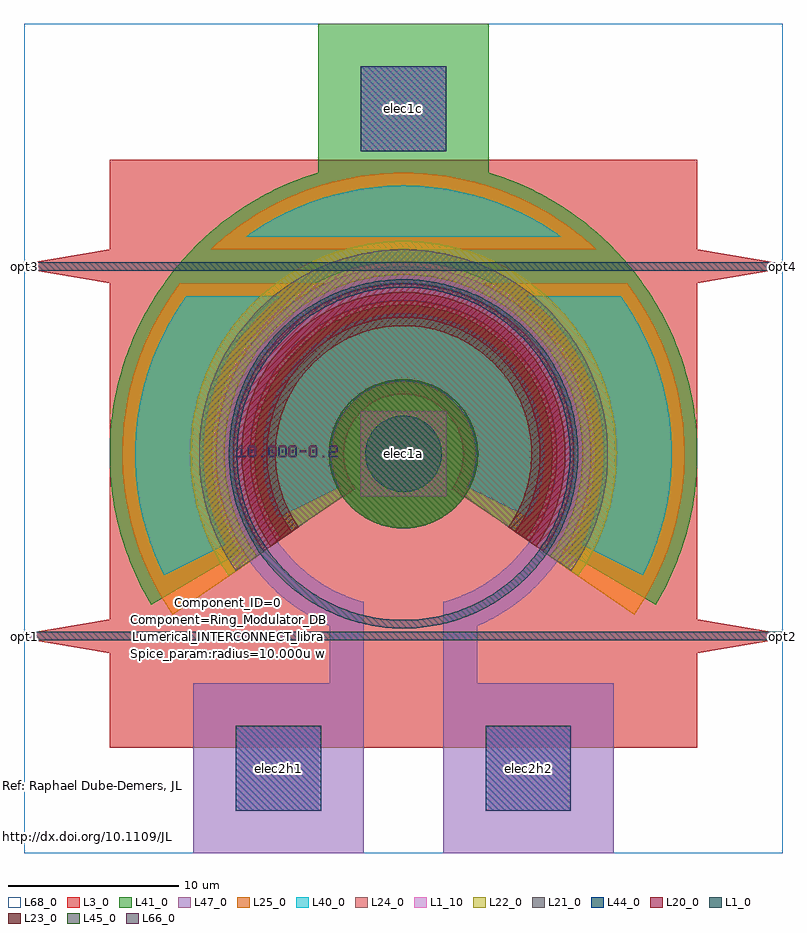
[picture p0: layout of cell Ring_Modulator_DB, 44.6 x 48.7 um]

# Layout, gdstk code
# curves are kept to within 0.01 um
import gdstk
lib = gdstk.Library(unit=1e-6, precision=1e-09)
def R(c, l, rs):  # rectangles x0, y0, x1, y1
    for r in rs: c.add(gdstk.rectangle(r[:2], r[2:], *l))
def A(c, l, x, y, w, h, nx, ny, dx, dy):  # array of equal rectangles
    R(c, l, [(x+i*dx, y+j*dy, x+i*dx+w, y+j*dy+h) for i in range(nx) for j in range(ny)])
def P(c, l, *ps):  # polygons
    for p in ps: c.add(gdstk.Polygon(p, *l))
L1_0 = (1, 0)
L1_10 = (1, 10)
L3_0 = (3, 0)
L20_0 = (20, 0)
L21_0 = (21, 0)
L22_0 = (22, 0)
L23_0 = (23, 0)
L24_0 = (24, 0)
L25_0 = (25, 0)
L40_0 = (40, 0)
L41_0 = (41, 0)
L44_0 = (44, 0)
L45_0 = (45, 0)
L47_0 = (47, 0)
L66_0 = (66, 0)
L68_0 = (68, 0)

ring = lib.new_cell('Ring')
P(ring, L1_0, [(-0.05,-10.25),(-0.656,-10.229),(-1.058,-10.195),(-1.459,-10.146),(-2.055,-10.042),(-2.645,-9.903),(-3.033,-9.791),(-3.794,-9.522),(-4.166,-9.365),(-4.712,-9.103),(-5.241,-8.809),(-5.584,-8.595),(-6.082,-8.251),(-6.402,-8.005),(-6.864,-7.613),(-7.158,-7.337),(-7.579,-6.901),(-7.845,-6.597),(-8.221,-6.122),(-8.455,-5.794),(-8.783,-5.284),(-8.984,-4.934),(-9.26,-4.395),(-9.426,-4.027),(-9.647,-3.464),(-9.776,-3.081),(-9.89,-2.693),(-10.032,-2.105),(-10.107,-1.708),(-10.19,-1.108),(-10.238,-0.505),(-10.25,-0.101),(-10.238,0.505),(-10.21,0.907),(-10.138,1.509),(-10.032,2.105),(-9.89,2.693),(-9.776,3.081),(-9.647,3.464),(-9.426,4.027),(-9.26,4.395),(-8.984,4.934),(-8.783,5.284),(-8.455,5.794),(-8.221,6.122),(-7.845,6.597),(-7.579,6.901),(-7.158,7.337),(-6.864,7.613),(-6.402,8.005),(-5.918,8.369),(-5.414,8.704),(-4.89,9.008),(-4.35,9.281),(-3.794,9.522),(-3.225,9.729),(-3.16,9.75),(-0.049,9.75),(-0.64,9.729),(-1.423,9.646),(-2.005,9.542),(-2.579,9.403),(-3.144,9.229),(-3.697,9.022),(-4.237,8.781),(-4.761,8.509),(-5.267,8.205),(-5.755,7.871),(-6.221,7.507),(-6.664,7.117),(-7.083,6.7),(-7.476,6.259),(-7.841,5.794),(-8.178,5.309),(-8.484,4.804),(-8.76,4.281),(-9.003,3.743),(-9.213,3.19),(-9.39,2.626),(-9.531,2.053),(-9.638,1.472),(-9.71,0.885),(-9.746,0.295),(-9.746,-0.295),(-9.71,-0.885),(-9.638,-1.472),(-9.531,-2.053),(-9.39,-2.626),(-9.213,-3.19),(-9.003,-3.743),(-8.76,-4.281),(-8.484,-4.804),(-8.178,-5.309),(-7.841,-5.794),(-7.476,-6.259),(-7.083,-6.7),(-6.664,-7.117),(-6.221,-7.507),(-5.755,-7.871),(-5.267,-8.205),(-4.761,-8.509),(-4.237,-8.781),(-3.697,-9.022),(-3.144,-9.229),(-2.579,-9.403),(-2.005,-9.542),(-1.423,-9.646),(-0.836,-9.714),(-0.246,-9.747),(0.345,-9.744),(0.934,-9.705),(1.52,-9.631),(2.101,-9.521),(2.674,-9.376),(3.237,-9.197),(3.788,-8.984),(4.325,-8.738),(4.847,-8.46),(5.35,-8.151),(5.991,-7.693),(6.446,-7.316),(6.877,-6.912),(7.412,-6.334),(7.782,-5.873),(8.124,-5.391),(8.533,-4.718),(8.886,-4.014),(9.181,-3.283),(9.363,-2.721),(9.552,-1.956),(9.653,-1.374),(9.732,-0.591),(9.748,0.197),(9.718,0.787),(9.623,1.569),(9.465,2.341),(9.306,2.91),(9.04,3.651),(8.716,4.369),(8.533,4.718),(8.231,5.226),(7.899,5.715),(7.662,6.029),(7.15,6.628),(6.877,6.912),(6.446,7.316),(5.834,7.812),(5.184,8.257),(4.847,8.46),(4.325,8.738),(3.606,9.059),(2.863,9.32),(2.101,9.521),(1.326,9.659),(0.738,9.722),(0.148,9.749),(-3.16,9.75),(-2.449,9.953),(-1.658,10.115),(-0.857,10.214),(-0.05,10.25),(0.555,10.235),(0.958,10.205),(1.359,10.16),(1.956,10.062),(2.351,9.977),(2.936,9.82),(3.511,9.63),(3.888,9.484),(4.258,9.324),(4.801,9.056),(5.328,8.757),(5.668,8.54),(6.163,8.19),(6.481,7.941),(6.938,7.545),(7.23,7.266),(7.511,6.975),(7.909,6.52),(8.281,6.041),(8.512,5.71),(8.73,5.371),(9.032,4.846),(9.303,4.304),(9.465,3.934),(9.613,3.558),(9.806,2.984),(9.916,2.596),(10.052,2.006),(10.153,1.409),(10.2,1.008),(10.242,0.404),(10.25,0),(10.242,-0.404),(10.2,-1.008),(10.153,-1.409),(10.052,-2.006),(9.916,-2.596),(9.806,-2.984),(9.613,-3.558),(9.465,-3.934),(9.303,-4.304),(9.032,-4.846),(8.73,-5.371),(8.512,-5.71),(8.281,-6.041),(7.909,-6.52),(7.511,-6.975),(7.23,-7.266),(6.938,-7.545),(6.481,-7.941),(6.163,-8.19),(5.668,-8.54),(5.328,-8.757),(4.801,-9.056),(4.258,-9.324),(3.888,-9.484),(3.511,-9.63),(2.936,-9.82),(2.351,-9.977),(1.956,-10.062),(1.359,-10.16),(0.958,-10.205),(0.555,-10.235)])

text = lib.new_cell('TEXT')
A(text, L66_0, 2, 0.25, 0.1, 0.2, 3, 1, 0.6, 0)
R(text, L66_0, [(1.4,0,1.5,0.1), (5,0,5.1,0.1), (0.8,0.25,0.9,0.45), (4.4,0.25,4.5,0.45), (3.65,0.3,4.05,0.4)])
P(text, L66_0, [(0,0),(0,0.1),(0.2,0.1),(0.2,0.5),(0.15,0.5),(0.05,0.4),(0,0.4),(0,0.5),(0.2,0.7),(0.3,0.7),(0.3,0.1),(0.5,0.1),(0.5,0)],
  [(0.7,0),(0.6,0.1),(0.6,0.6),(0.7,0.7),(1,0.7),(1.1,0.6),(0.75,0.6),(0.7,0.55),(0.7,0.15),(0.75,0.1),(0.95,0.1),(1,0.15),(1,0.55),(0.95,0.6),(1.1,0.6),(1.1,0.1),(1,0)],
  [(1.9,0),(1.8,0.1),(1.8,0.6),(1.9,0.7),(2.2,0.7),(2.3,0.6),(1.95,0.6),(1.9,0.55),(1.9,0.15),(1.95,0.1),(2.15,0.1),(2.2,0.15),(2.2,0.55),(2.15,0.6),(2.3,0.6),(2.3,0.1),(2.2,0)],
  [(2.5,0),(2.4,0.1),(2.4,0.6),(2.5,0.7),(2.8,0.7),(2.9,0.6),(2.55,0.6),(2.5,0.55),(2.5,0.15),(2.55,0.1),(2.75,0.1),(2.8,0.15),(2.8,0.55),(2.75,0.6),(2.9,0.6),(2.9,0.1),(2.8,0)],
  [(3.1,0),(3,0.1),(3,0.6),(3.1,0.7),(3.4,0.7),(3.5,0.6),(3.15,0.6),(3.1,0.55),(3.1,0.15),(3.15,0.1),(3.35,0.1),(3.4,0.15),(3.4,0.55),(3.35,0.6),(3.5,0.6),(3.5,0.1),(3.4,0)],
  [(4.3,0),(4.2,0.1),(4.2,0.6),(4.3,0.7),(4.6,0.7),(4.7,0.6),(4.35,0.6),(4.3,0.55),(4.3,0.15),(4.35,0.1),(4.55,0.1),(4.6,0.15),(4.6,0.55),(4.55,0.6),(4.7,0.6),(4.7,0.1),(4.6,0)],
  [(5.4,0),(5.4,0.25),(5.5,0.35),(5.75,0.35),(5.8,0.4),(5.8,0.55),(5.75,0.6),(5.55,0.6),(5.5,0.55),(5.5,0.5),(5.4,0.5),(5.4,0.6),(5.5,0.7),(5.8,0.7),(5.9,0.6),(5.9,0.35),(5.8,0.25),(5.55,0.25),(5.5,0.2),(5.5,0.1),(5.9,0.1),(5.9,0)])

ring_modulator_db = lib.new_cell('Ring_Modulator_DB')
R(ring_modulator_db, L1_0, [(-12,-0.25,32.5,0.25), (-12,21.45,32.5,21.95)])
R(ring_modulator_db, L1_10, [(0.42,-10.25,5.42,-5.25), (15.079,-10.25,20.079,-5.25), (7.75,8.2,12.75,13.2), (7.75,28.45,12.75,33.45)])
P(ring_modulator_db, L1_10, [(10.274,8.46),(9.897,8.488),(9.621,8.55),(9.442,8.611),(9.185,8.729),(9.023,8.826),(8.869,8.936),(8.658,9.124),(8.416,9.414),(8.314,9.573),(8.187,9.826),(8.121,10.003),(8.05,10.277),(8.01,10.653),(8.014,10.842),(8.05,11.123),(8.121,11.397),(8.187,11.574),(8.314,11.827),(8.416,11.986),(8.658,12.276),(8.869,12.464),(9.023,12.574),(9.355,12.753),(9.621,12.85),(9.804,12.895),(10.179,12.939),(10.368,12.937),(10.649,12.904),(10.834,12.863),(11.102,12.772),(11.273,12.693),(11.516,12.548),(11.809,12.309),(11.939,12.172),(12.111,11.947),(12.209,11.786),(12.331,11.53),(12.419,11.261),(12.458,11.076),(12.49,10.7),(12.458,10.324),(12.419,10.139),(12.331,9.87),(12.209,9.614),(12.111,9.453),(11.939,9.228),(11.809,9.091),(11.516,8.852),(11.273,8.707),(11.102,8.628),(10.834,8.537),(10.649,8.496)])
R(ring_modulator_db, L3_0, [(-7,-6.55,27.5,27.95)])
P(ring_modulator_db, L3_0, [(-7,-1),(-12,-0.15),(-12,0.15),(-7,1)],
  [(27.5,-1),(27.5,1),(32.5,0.15),(32.5,-0.15)],
  [(-7,20.7),(-12,21.55),(-12,21.85),(-7,22.7)],
  [(27.5,20.7),(27.5,22.7),(32.5,21.85),(32.5,21.55)])
P(ring_modulator_db, L20_0, [(2.056,4.969),(1.824,5.315),(1.5,5.857),(1.123,6.613),(0.883,7.196),(0.744,7.594),(0.567,8.201),(0.47,8.613),(0.329,9.445),(0.27,10.072),(0.252,10.493),(0.27,11.336),(0.33,11.966),(0.392,12.383),(0.569,13.207),(0.746,13.813),(0.887,14.211),(1.044,14.605),(1.308,15.176),(1.717,15.915),(1.944,16.269),(2.311,16.781),(2.577,17.114),(2.995,17.582),(3.446,18.029),(3.762,18.31),(4.425,18.828),(4.771,19.066),(5.313,19.396),(6.062,19.781),(6.644,20.028),(7.04,20.171),(7.443,20.298),(8.055,20.456),(8.884,20.607),(9.303,20.656),(9.933,20.696),(10.567,20.696),(10.987,20.673),(11.616,20.607),(12.033,20.54),(12.65,20.408),(13.057,20.298),(13.856,20.028),(14.438,19.781),(14.817,19.597),(15.187,19.396),(15.729,19.066),(16.414,18.575),(16.738,18.31),(17.207,17.883),(17.505,17.582),(17.923,17.114),(18.437,16.442),(18.891,15.734),(19.192,15.176),(19.537,14.409),(19.754,13.813),(19.931,13.207),(20.108,12.383),(20.214,11.546),(20.25,10.704),(20.214,9.862),(20.109,9.024),(19.933,8.201),(19.756,7.594),(19.461,6.807),(19.196,6.232),(18.895,5.674),(18.444,4.969),(16.8,6.107),(17.081,6.535),(17.329,6.973),(17.551,7.429),(17.8,8.055),(17.997,8.701),(18.107,9.194),(18.187,9.693),(18.243,10.366),(18.243,11.041),(18.206,11.545),(18.106,12.211),(17.995,12.705),(17.852,13.191),(17.681,13.665),(17.404,14.282),(17.163,14.726),(16.894,15.155),(16.599,15.567),(16.281,15.956),(15.935,16.329),(15.569,16.675),(15.178,17.001),(14.771,17.3),(14.347,17.572),(13.903,17.817),(13.448,18.033),(12.977,18.22),(12.497,18.378),(12.007,18.504),(11.509,18.601),(10.839,18.679),(10.334,18.7),(9.829,18.689),(9.325,18.647),(8.825,18.572),(8.33,18.466),(7.843,18.329),(7.366,18.162),(6.9,17.965),(6.448,17.739),(6.01,17.484),(5.589,17.202),(5.188,16.894),(4.806,16.563),(4.449,16.208),(4.109,15.828),(3.701,15.294),(3.423,14.869),(3.096,14.282),(2.884,13.819),(2.701,13.35),(2.505,12.705),(2.394,12.211),(2.294,11.545),(2.257,11.041),(2.257,10.366),(2.313,9.693),(2.393,9.194),(2.503,8.701),(2.7,8.055),(2.949,7.429),(3.171,6.973),(3.419,6.535),(3.7,6.107)])
P(ring_modulator_db, L21_0, [(0.414,3.825),(0.164,4.198),(-0.19,4.783),(-0.409,5.186),(-0.706,5.803),(-0.968,6.437),(-1.122,6.867),(-1.322,7.523),(-1.485,8.189),(-1.609,8.864),(-1.67,9.318),(-1.714,9.774),(-1.748,10.459),(-1.748,10.916),(-1.716,11.601),(-1.674,12.054),(-1.577,12.734),(-1.441,13.407),(-1.329,13.85),(-1.13,14.507),(-0.895,15.149),(-0.717,15.572),(-0.421,16.189),(-0.203,16.594),(0.151,17.181),(0.537,17.747),(0.955,18.29),(1.251,18.639),(1.719,19.141),(2.215,19.613),(2.562,19.914),(2.918,20.2),(3.472,20.602),(3.854,20.854),(4.445,21.202),(5.054,21.517),(5.473,21.708),(6.107,21.963),(6.537,22.112),(7.199,22.306),(7.64,22.413),(8.314,22.543),(8.767,22.608),(9.45,22.674),(9.907,22.696),(10.593,22.696),(11.05,22.674),(11.733,22.608),(12.409,22.504),(12.86,22.413),(13.523,22.245),(13.963,22.112),(14.609,21.88),(15.238,21.615),(15.651,21.416),(16.253,21.091),(16.646,20.854),(17.028,20.602),(17.582,20.2),(18.112,19.767),(18.617,19.302),(18.941,18.975),(19.398,18.466),(19.826,17.932),(20.096,17.56),(20.59,16.789),(21.023,15.986),(21.395,15.149),(21.702,14.288),(21.941,13.407),(22.113,12.508),(22.216,11.601),(22.25,10.687),(22.214,9.774),(22.109,8.864),(21.934,7.966),(21.693,7.086),(21.383,6.222),(21.011,5.39),(20.575,4.584),(20.086,3.825),(18.436,4.957),(18.855,5.606),(19.131,6.104),(19.455,6.793),(19.726,7.507),(19.942,8.236),(20.102,8.983),(20.184,9.548),(20.243,10.309),(20.243,11.071),(20.186,11.83),(20.105,12.396),(19.948,13.139),(19.792,13.692),(19.537,14.409),(19.227,15.104),(18.866,15.777),(18.454,16.418),(18.114,16.877),(17.622,17.458),(17.225,17.866),(16.804,18.253),(16.209,18.731),(15.739,19.059),(15.255,19.357),(14.751,19.63),(14.235,19.872),(13.703,20.085),(12.979,20.321),(12.238,20.501),(11.674,20.598),(11.106,20.664),(10.345,20.7),(9.774,20.689),(9.015,20.624),(8.262,20.501),(7.705,20.37),(7.159,20.21),(6.621,20.018),(6.092,19.795),(5.413,19.452),(4.761,19.059),(4.291,18.731),(3.696,18.253),(3.275,17.866),(2.878,17.458),(2.386,16.877),(2.046,16.418),(1.634,15.777),(1.273,15.104),(0.963,14.409),(0.708,13.692),(0.552,13.139),(0.395,12.396),(0.314,11.83),(0.257,11.071),(0.257,10.309),(0.316,9.548),(0.398,8.983),(0.558,8.236),(0.774,7.507),(0.971,6.972),(1.283,6.274),(1.645,5.606),(2.064,4.957)])
P(ring_modulator_db, L22_0, [(0.007,3.536),(-0.251,3.918),(-0.612,4.516),(-0.836,4.924),(-1.142,5.555),(-1.325,5.981),(-1.571,6.636),(-1.779,7.302),(-1.951,7.981),(-2.084,8.667),(-2.151,9.128),(-2.22,9.824),(-2.244,10.29),(-2.247,10.989),(-2.211,11.687),(-2.165,12.152),(-2.065,12.844),(-1.926,13.529),(-1.812,13.979),(-1.682,14.427),(-1.455,15.088),(-1.19,15.737),(-0.892,16.368),(-0.672,16.78),(-0.315,17.381),(0.074,17.96),(0.354,18.337),(0.796,18.877),(1.107,19.224),(1.598,19.722),(2.115,20.191),(2.475,20.488),(3.034,20.907),(3.421,21.17),(4.016,21.535),(4.632,21.867),(5.263,22.162),(5.696,22.341),(6.353,22.577),(6.8,22.714),(7.476,22.888),(8.163,23.024),(8.854,23.122),(9.318,23.165),(10.017,23.198),(10.483,23.198),(11.182,23.165),(11.646,23.122),(12.337,23.024),(12.797,22.938),(13.476,22.776),(13.924,22.648),(14.586,22.424),(15.237,22.162),(15.868,21.867),(16.484,21.535),(16.883,21.295),(17.466,20.907),(17.84,20.632),(18.385,20.191),(18.733,19.882),(19.07,19.558),(19.551,19.052),(20.003,18.519),(20.426,17.96),(20.938,17.183),(21.392,16.368),(21.595,15.949),(21.87,15.307),(22.182,14.427),(22.426,13.529),(22.604,12.612),(22.711,11.687),(22.75,10.756),(22.72,9.824),(22.62,8.897),(22.451,7.981),(22.341,7.528),(22.144,6.856),(21.825,5.981),(21.441,5.132),(20.996,4.314),(20.493,3.536),(18.847,4.672),(19.276,5.334),(19.651,6.022),(19.897,6.555),(20.179,7.286),(20.407,8.036),(20.577,8.801),(20.69,9.574),(20.736,10.159),(20.747,10.943),(20.7,11.724),(20.595,12.5),(20.478,13.075),(20.272,13.831),(20.012,14.569),(19.695,15.287),(19.327,15.979),(19.018,16.477),(18.564,17.113),(18.192,17.569),(17.658,18.142),(17.083,18.673),(16.628,19.042),(16.15,19.386),(15.486,19.801),(14.795,20.166),(14.256,20.406),(13.523,20.677),(12.96,20.844),(12.198,21.018),(11.616,21.111),(10.837,21.184),(10.25,21.2),(9.663,21.184),(8.884,21.111),(8.302,21.018),(7.54,20.844),(6.977,20.677),(6.244,20.406),(5.705,20.166),(5.014,19.801),(4.35,19.386),(3.872,19.042),(3.417,18.673),(2.842,18.142),(2.308,17.569),(1.936,17.113),(1.591,16.639),(1.173,15.979),(0.805,15.287),(0.488,14.569),(0.228,13.831),(0.022,13.075),(-0.095,12.5),(-0.2,11.724),(-0.247,10.943),(-0.236,10.159),(-0.19,9.574),(-0.077,8.801),(0.093,8.036),(0.321,7.286),(0.603,6.555),(0.849,6.022),(1.224,5.334),(1.653,4.672)])
P(ring_modulator_db, L23_0, [(2.462,5.26),(2.238,5.594),(1.924,6.125),(1.558,6.866),(1.258,7.634),(1.133,8.026),(0.979,8.628),(0.834,9.437),(0.788,9.847),(0.753,10.466),(0.751,10.878),(0.783,11.495),(0.888,12.314),(1.063,13.119),(1.239,13.712),(1.379,14.099),(1.535,14.483),(1.799,15.04),(2.208,15.757),(2.553,16.27),(2.803,16.599),(3.342,17.221),(3.781,17.657),(4.09,17.933),(4.741,18.439),(5.254,18.781),(5.611,18.991),(6.346,19.361),(7.116,19.668),(7.506,19.795),(8.104,19.954),(8.917,20.107),(9.529,20.172),(9.94,20.195),(10.765,20.186),(11.177,20.154),(11.79,20.075),(12.597,19.906),(12.994,19.795),(13.579,19.598),(13.963,19.445),(14.524,19.184),(15.246,18.781),(15.926,18.319),(16.41,17.933),(16.719,17.657),(17.013,17.372),(17.433,16.917),(17.947,16.27),(18.4,15.582),(18.701,15.04),(18.965,14.483),(19.261,13.712),(19.488,12.918),(19.612,12.314),(19.717,11.495),(19.749,10.878),(19.74,10.259),(19.666,9.437),(19.521,8.628),(19.367,8.026),(19.099,7.244),(18.768,6.493),(18.475,5.946),(18.038,5.26),(16.388,6.39),(16.659,6.805),(16.901,7.233),(17.112,7.672),(17.348,8.278),(17.532,8.903),(17.634,9.382),(17.703,9.865),(17.742,10.351),(17.749,10.84),(17.709,11.489),(17.642,11.972),(17.503,12.609),(17.363,13.078),(17.131,13.685),(16.921,14.128),(16.684,14.554),(16.419,14.965),(16.129,15.357),(15.814,15.729),(15.475,16.08),(15.114,16.409),(14.732,16.713),(14.329,16.994),(13.913,17.245),(13.478,17.47),(13.031,17.665),(12.571,17.832),(12.103,17.968),(11.626,18.073),(11.307,18.125),(10.819,18.178),(10.331,18.199),(9.843,18.188),(9.355,18.146),(8.874,18.073),(8.397,17.968),(7.929,17.832),(7.469,17.665),(7.022,17.47),(6.587,17.245),(6.171,16.994),(5.768,16.713),(5.386,16.409),(5.025,16.08),(4.686,15.729),(4.371,15.357),(4.081,14.965),(3.816,14.554),(3.579,14.128),(3.369,13.685),(3.137,13.078),(2.997,12.609),(2.858,11.972),(2.791,11.489),(2.751,10.84),(2.758,10.351),(2.797,9.865),(2.866,9.382),(2.968,8.903),(3.152,8.278),(3.388,7.672),(3.599,7.233),(3.841,6.805),(4.112,6.39)])
P(ring_modulator_db, L24_0, [(2.855,5.57),(2.622,5.922),(2.393,6.309),(2.179,6.717),(1.989,7.128),(1.818,7.552),(1.67,7.982),(1.542,8.425),(1.438,8.872),(1.357,9.316),(1.298,9.767),(1.253,10.451),(1.253,10.907),(1.275,11.371),(1.32,11.816),(1.389,12.278),(1.478,12.718),(1.593,13.163),(1.729,13.597),(1.885,14.024),(2.067,14.447),(2.264,14.85),(2.491,15.26),(2.728,15.643),(2.987,16.015),(3.268,16.379),(3.57,16.732),(3.877,17.055),(4.384,17.526),(4.733,17.811),(5.105,18.084),(5.483,18.335),(5.877,18.567),(6.278,18.777),(6.7,18.97),(7.122,19.139),(7.552,19.287),(7.987,19.411),(8.436,19.516),(8.885,19.596),(9.34,19.654),(9.794,19.689),(10.25,19.7),(10.706,19.689),(11.16,19.654),(11.84,19.559),(12.289,19.466),(12.729,19.352),(13.167,19.214),(13.592,19.057),(14.222,18.777),(14.623,18.567),(15.017,18.335),(15.395,18.084),(15.767,17.811),(16.116,17.526),(16.456,17.218),(16.78,16.893),(17.088,16.553),(17.373,16.202),(17.641,15.835),(18.009,15.26),(18.337,14.65),(18.615,14.024),(18.84,13.384),(19.022,12.718),(19.15,12.042),(19.225,11.371),(19.25,10.687),(19.223,10.004),(19.143,9.316),(19.013,8.649),(18.83,7.982),(18.597,7.335),(18.321,6.717),(17.992,6.112),(17.645,5.57),(13.095,8.66),(13.307,8.995),(13.53,9.478),(13.657,9.897),(13.709,10.164),(13.739,10.42),(13.746,10.874),(13.679,11.399),(13.563,11.827),(13.47,12.071),(13.352,12.322),(13.127,12.693),(12.854,13.038),(12.664,13.234),(12.465,13.41),(12.103,13.669),(11.717,13.878),(11.468,13.981),(11.215,14.064),(10.781,14.16),(10.517,14.19),(10.25,14.2),(9.983,14.19),(9.719,14.16),(9.285,14.064),(9.032,13.981),(8.783,13.878),(8.397,13.669),(8.035,13.41),(7.836,13.234),(7.646,13.038),(7.373,12.693),(7.148,12.322),(7.03,12.071),(6.937,11.827),(6.821,11.399),(6.754,10.874),(6.761,10.42),(6.791,10.164),(6.843,9.897),(6.97,9.478),(7.193,8.995),(7.405,8.66)])
P(ring_modulator_db, L25_0, [(-3.277,1.253),(-3.88,2.181),(-4.162,2.665),(-4.428,3.162),(-4.794,3.923),(-5.22,4.961),(-5.407,5.492),(-5.574,6.027),(-5.856,7.117),(-6.063,8.225),(-6.194,9.338),(-6.249,10.462),(-6.226,11.593),(-6.128,12.709),(-6.003,13.544),(-5.898,14.093),(-5.771,14.643),(-5.628,15.191),(-5.466,15.726),(-5.089,16.78),(-4.757,17.559),(-4.255,18.565),(-3.834,19.297),(-3.373,20.01),(-2.875,20.7),(5.668,20.7),(5.201,20.473),(4.545,20.105),(4.071,19.8),(3.613,19.472),(3.034,19.003),(2.617,18.62),(2.222,18.22),(1.846,17.797),(1.495,17.36),(1.062,16.749),(0.766,16.272),(0.492,15.777),(0.247,15.275),(0.027,14.762),(-0.228,14.05),(-0.384,13.516),(-0.551,12.783),(-0.644,12.224),(-0.707,11.667),(-0.743,11.106),(-0.749,10.544),(-0.727,9.983),(-0.676,9.423),(-0.563,8.678),(-0.446,8.131),(-0.3,7.587),(-0.126,7.048),(0.073,6.525),(0.299,6.011),(0.642,5.343),(0.93,4.856),(1.251,4.373)],
  [(23.777,1.253),(19.249,4.373),(19.57,4.856),(19.858,5.343),(20.201,6.011),(20.427,6.525),(20.626,7.048),(20.8,7.587),(20.946,8.131),(21.063,8.678),(21.176,9.423),(21.227,9.983),(21.249,10.544),(21.243,11.106),(21.207,11.667),(21.144,12.224),(21.051,12.783),(20.884,13.516),(20.728,14.05),(20.473,14.762),(20.253,15.275),(20.008,15.777),(19.734,16.272),(19.438,16.749),(19.005,17.36),(18.654,17.797),(18.278,18.22),(17.883,18.62),(17.466,19.003),(16.887,19.472),(16.429,19.8),(15.955,20.105),(15.299,20.473),(14.832,20.7),(23.375,20.7),(23.873,20.01),(24.334,19.297),(24.755,18.565),(25.257,17.559),(25.589,16.78),(25.966,15.726),(26.128,15.191),(26.271,14.643),(26.398,14.093),(26.503,13.544),(26.628,12.709),(26.726,11.593),(26.749,10.462),(26.694,9.338),(26.563,8.225),(26.356,7.117),(26.074,6.027),(25.907,5.492),(25.72,4.961),(25.294,3.923),(24.928,3.162),(24.662,2.665),(24.38,2.181)],
  [(-1.074,22.7),(-0.582,23.147),(0.072,23.687),(0.749,24.19),(1.453,24.659),(1.933,24.951),(2.667,25.355),(3.429,25.725),(4.205,26.053),(4.738,26.252),(5.536,26.513),(6.348,26.732),(7.171,26.91),(7.732,27.007),(8.565,27.114),(9.406,27.178),(10.25,27.2),(11.094,27.178),(11.935,27.114),(12.768,27.007),(13.329,26.91),(14.152,26.732),(14.964,26.513),(15.762,26.252),(16.295,26.053),(17.071,25.725),(17.833,25.355),(18.567,24.951),(19.047,24.659),(19.751,24.19),(20.428,23.687),(21.082,23.147),(21.574,22.7)])
P(ring_modulator_db, L40_0, [(-3.79,3.564),(-4.131,4.277),(-4.441,5.02),(-4.714,5.787),(-5.014,6.816),(-5.193,7.606),(-5.331,8.398),(-5.429,9.201),(-5.485,10.006),(-5.5,10.812),(-5.473,11.619),(-5.405,12.423),(-5.296,13.228),(-5.088,14.281),(-4.884,15.061),(-4.641,15.832),(-4.358,16.59),(-4.038,17.328),(-3.55,18.291),(-3.002,19.213),(-2.497,19.95),(3.006,19.95),(2.598,19.616),(2.151,19.212),(1.727,18.789),(1.455,18.49),(1.067,18.03),(0.821,17.711),(0.474,17.22),(0.258,16.881),(-0.046,16.361),(-0.233,16.007),(-0.408,15.646),(-0.648,15.092),(-0.792,14.717),(-0.983,14.148),(-1.145,13.566),(-1.236,13.175),(-1.406,12.188),(-1.45,11.785),(-1.49,11.184),(-1.5,10.786),(-1.489,10.184),(-1.447,9.583),(-1.401,9.18),(-1.23,8.193),(-1.087,7.611),(-0.973,7.223),(-0.782,6.654),(-0.636,6.28),(-0.395,5.727),(-0.212,5.352)],
  [(24.29,3.564),(20.712,5.352),(20.895,5.727),(21.136,6.28),(21.282,6.654),(21.473,7.223),(21.587,7.611),(21.73,8.193),(21.901,9.18),(21.947,9.583),(21.989,10.184),(22,10.786),(21.99,11.184),(21.95,11.785),(21.906,12.188),(21.736,13.175),(21.645,13.566),(21.483,14.148),(21.292,14.717),(21.148,15.092),(20.991,15.463),(20.733,16.007),(20.546,16.361),(20.242,16.881),(20.026,17.22),(19.679,17.711),(19.433,18.03),(19.045,18.49),(18.773,18.789),(18.349,19.212),(17.902,19.616),(17.494,19.95),(22.997,19.95),(23.502,19.213),(24.05,18.291),(24.538,17.328),(24.858,16.59),(25.141,15.832),(25.384,15.061),(25.588,14.281),(25.796,13.228),(25.905,12.423),(25.973,11.619),(26,10.812),(25.985,10.006),(25.929,9.201),(25.831,8.398),(25.693,7.606),(25.514,6.816),(25.214,5.787),(24.941,5.02),(24.631,4.277)],
  [(1.003,23.45),(1.495,23.792),(2.176,24.224),(3.118,24.743),(4.094,25.197),(4.843,25.493),(5.353,25.67),(6.128,25.902),(6.646,26.032),(7.705,26.243),(8.505,26.353),(9.041,26.403),(10.116,26.449),(10.922,26.435),(11.459,26.403),(11.995,26.353),(12.795,26.243),(13.854,26.032),(14.372,25.902),(15.147,25.67),(15.657,25.493),(16.406,25.197),(17.382,24.743),(18.324,24.224),(19.005,23.792),(19.497,23.45)],
  [(2.887,6.979),(2.717,7.334),(2.557,7.717),(2.415,8.115),(2.295,8.513),(2.195,8.915),(2.115,9.328),(2.055,9.749),(2.017,10.159),(2.001,10.578),(2.005,11.002),(2.051,11.621),(2.109,12.036),(2.188,12.453),(2.286,12.857),(2.406,13.256),(2.545,13.649),(2.708,14.042),(2.882,14.413),(3.081,14.784),(3.3,15.145),(3.534,15.49),(3.786,15.826),(4.052,16.146),(4.33,16.446),(4.634,16.744),(5.114,17.156),(5.445,17.406),(5.794,17.643),(6.147,17.858),(6.521,18.059),(7.284,18.399),(7.678,18.539),(8.08,18.66),(8.485,18.759),(8.896,18.838),(9.311,18.896),(9.728,18.933),(10.146,18.949),(10.564,18.944),(10.981,18.917),(11.397,18.87),(12.015,18.759),(12.42,18.66),(12.822,18.539),(13.216,18.399),(13.605,18.236),(13.979,18.059),(14.353,17.858),(14.706,17.643),(15.055,17.406),(15.386,17.156),(15.708,16.887),(16.006,16.61),(16.305,16.304),(16.586,15.984),(16.844,15.658),(17.086,15.32),(17.311,14.968),(17.618,14.413),(17.955,13.649),(18.094,13.256),(18.265,12.653),(18.355,12.243),(18.449,11.621),(18.5,10.786),(18.483,10.159),(18.445,9.749),(18.385,9.328),(18.305,8.915),(18.205,8.513),(18.016,7.916),(17.783,7.334),(17.613,6.979),(14.025,8.747),(14.25,9.264),(14.401,9.787),(14.482,10.317),(14.497,10.85),(14.443,11.392),(14.323,11.912),(14.138,12.416),(13.889,12.896),(13.582,13.338),(13.228,13.732),(12.812,14.091),(12.359,14.39),(11.876,14.626),(11.37,14.8),(10.841,14.908),(10.304,14.949),(9.765,14.922),(9.447,14.873),(9.13,14.8),(8.624,14.626),(8.141,14.39),(7.688,14.091),(7.272,13.732),(6.918,13.338),(6.611,12.896),(6.362,12.416),(6.177,11.912),(6.057,11.392),(6.003,10.85),(6.018,10.317),(6.099,9.787),(6.25,9.264),(6.475,8.747)])
R(ring_modulator_db, L41_0, [(5.25,25.95,15.25,35.95)])
P(ring_modulator_db, L41_0, [(3.082,5.681),(2.775,6.151),(2.588,6.475),(2.414,6.806),(2.18,7.317),(1.98,7.841),(1.865,8.198),(1.682,8.923),(1.562,9.662),(1.525,10.034),(1.501,10.595),(1.504,10.969),(1.539,11.53),(1.642,12.271),(1.717,12.638),(1.859,13.181),(2.102,13.889),(2.404,14.573),(2.669,15.069),(2.862,15.389),(3.178,15.853),(3.405,16.151),(3.896,16.715),(4.159,16.982),(4.574,17.359),(5.164,17.82),(5.791,18.229),(6.283,18.499),(6.62,18.662),(7.138,18.878),(7.491,19.004),(8.21,19.209),(8.76,19.322),(9.13,19.378),(9.876,19.442),(10.25,19.45),(10.811,19.432),(11.555,19.352),(12.29,19.209),(12.831,19.061),(13.186,18.943),(13.709,18.737),(14.049,18.582),(14.383,18.412),(14.869,18.132),(15.487,17.71),(15.926,17.359),(16.205,17.111),(16.474,16.85),(16.856,16.438),(17.322,15.853),(17.736,15.23),(18.096,14.573),(18.398,13.889),(18.586,13.36),(18.783,12.638),(18.889,12.087),(18.961,11.53),(19,10.782),(18.975,10.034),(18.914,9.476),(18.818,8.923),(18.635,8.198),(18.39,7.49),(18.086,6.806),(17.725,6.151),(17.418,5.681),(10.25,10.7)],
  [(10.25,6.325),(9.854,6.343),(9.332,6.422),(8.948,6.523),(8.576,6.658),(8.101,6.889),(7.765,7.099),(7.449,7.339),(7.156,7.606),(6.889,7.899),(6.649,8.215),(6.439,8.551),(6.208,9.026),(6.073,9.398),(5.972,9.782),(5.893,10.304),(5.875,10.7),(5.893,11.096),(5.972,11.618),(6.073,12.002),(6.208,12.374),(6.439,12.849),(6.649,13.185),(6.889,13.501),(7.156,13.794),(7.449,14.061),(7.765,14.301),(8.101,14.511),(8.576,14.742),(8.948,14.877),(9.332,14.978),(9.854,15.057),(10.25,15.075),(10.646,15.057),(11.168,14.978),(11.552,14.877),(11.924,14.742),(12.399,14.511),(12.735,14.301),(13.051,14.061),(13.344,13.794),(13.611,13.501),(13.851,13.185),(14.061,12.849),(14.292,12.374),(14.427,12.002),(14.528,11.618),(14.607,11.096),(14.625,10.7),(14.607,10.304),(14.528,9.782),(14.427,9.398),(14.292,9.026),(14.061,8.551),(13.851,8.215),(13.611,7.899),(13.344,7.606),(13.051,7.339),(12.735,7.099),(12.399,6.889),(11.924,6.658),(11.552,6.523),(11.168,6.422),(10.646,6.343)],
  [(-4.549,1.836),(-4.964,2.57),(-5.353,3.343),(-5.703,4.138),(-6.014,4.952),(-6.28,5.77),(-6.509,6.612),(-6.693,7.458),(-6.792,8.027),(-6.905,8.889),(-6.973,9.748),(-7,10.62),(-6.982,11.487),(-6.922,12.347),(-6.816,13.214),(-6.668,14.071),(-6.478,14.915),(-6.245,15.749),(-5.97,16.572),(-5.655,17.38),(-5.302,18.164),(-4.905,18.939),(-4.471,19.692),(-3.999,20.424),(-3.666,20.894),(-3.138,21.578),(-2.57,22.241),(-1.975,22.871),(-1.354,23.463),(-0.694,24.035),(-0.013,24.565),(0.704,25.068),(1.436,25.529),(2.191,25.953),(2.972,26.339),(3.768,26.686),(4.57,26.988),(5.396,27.253),(5.964,27.409),(6.806,27.603),(7.657,27.754),(8.517,27.863),(9.383,27.928),(10.25,27.95),(11.117,27.928),(11.983,27.863),(12.843,27.754),(13.694,27.603),(14.536,27.409),(15.37,27.172),(16.2,26.891),(17.002,26.574),(17.792,26.214),(18.309,25.953),(19.064,25.529),(19.796,25.068),(20.513,24.565),(21.194,24.035),(21.854,23.463),(22.475,22.871),(23.07,22.241),(23.638,21.578),(24.166,20.894),(24.499,20.424),(24.971,19.692),(25.538,18.691),(25.802,18.164),(26.038,17.648),(26.47,16.572),(26.827,15.47),(26.978,14.915),(27.109,14.349),(27.223,13.78),(27.316,13.214),(27.391,12.641),(27.446,12.058),(27.499,10.91),(27.473,9.748),(27.372,8.601),(27.193,7.458),(27.009,6.612),(26.862,6.05),(26.514,4.952),(26.092,3.873),(25.853,3.343),(25.598,2.826),(25.049,1.836),(19.881,4.886),(20.26,5.564),(20.655,6.422),(20.916,7.124),(21.133,7.85),(21.334,8.773),(21.437,9.517),(21.498,10.457),(21.488,11.211),(21.429,11.961),(21.319,12.712),(21.16,13.445),(20.891,14.351),(20.55,15.224),(20.224,15.903),(20.041,16.241),(19.749,16.728),(19.326,17.348),(18.86,17.941),(18.483,18.367),(17.953,18.899),(17.531,19.276),(16.937,19.747),(16.48,20.068),(15.837,20.464),(15.338,20.733),(14.656,21.052),(14.126,21.261),(13.598,21.44),(12.866,21.641),(12.316,21.758),(11.566,21.873),(11.004,21.925),(10.25,21.95),(9.496,21.925),(8.934,21.873),(8.184,21.758),(7.634,21.641),(6.902,21.44),(6.374,21.261),(5.844,21.052),(5.162,20.733),(4.663,20.464),(4.02,20.068),(3.563,19.747),(2.969,19.276),(2.547,18.899),(2.017,18.367),(1.64,17.941),(1.174,17.348),(0.751,16.728),(0.459,16.241),(0.276,15.903),(-0.05,15.224),(-0.391,14.351),(-0.66,13.445),(-0.819,12.712),(-0.929,11.961),(-0.988,11.211),(-0.998,10.457),(-0.937,9.517),(-0.834,8.773),(-0.633,7.85),(-0.416,7.124),(-0.155,6.422),(0.24,5.564),(0.619,4.886)])
R(ring_modulator_db, L44_0, [(0.42,-10.25,5.42,-5.25), (15.079,-10.25,20.079,-5.25), (7.75,28.45,12.75,33.45)])
P(ring_modulator_db, L44_0, [(10.274,8.46),(9.897,8.488),(9.621,8.55),(9.442,8.611),(9.185,8.729),(9.023,8.826),(8.869,8.936),(8.658,9.124),(8.416,9.414),(8.314,9.573),(8.187,9.826),(8.121,10.003),(8.05,10.277),(8.01,10.653),(8.014,10.842),(8.05,11.123),(8.121,11.397),(8.187,11.574),(8.314,11.827),(8.416,11.986),(8.658,12.276),(8.869,12.464),(9.023,12.574),(9.355,12.753),(9.621,12.85),(9.804,12.895),(10.179,12.939),(10.368,12.937),(10.649,12.904),(10.834,12.863),(11.102,12.772),(11.273,12.693),(11.516,12.548),(11.809,12.309),(11.939,12.172),(12.111,11.947),(12.209,11.786),(12.331,11.53),(12.419,11.261),(12.458,11.076),(12.49,10.7),(12.458,10.324),(12.419,10.139),(12.331,9.87),(12.209,9.614),(12.111,9.453),(11.939,9.228),(11.809,9.091),(11.516,8.852),(11.273,8.707),(11.102,8.628),(10.834,8.537),(10.649,8.496)])
P(ring_modulator_db, L45_0, [(10.25,6.325),(9.854,6.343),(9.332,6.422),(8.948,6.523),(8.576,6.658),(8.101,6.889),(7.765,7.099),(7.449,7.339),(7.156,7.606),(6.889,7.899),(6.649,8.215),(6.439,8.551),(6.208,9.026),(6.073,9.398),(5.972,9.782),(5.893,10.304),(5.875,10.7),(5.893,11.096),(5.972,11.618),(6.073,12.002),(6.208,12.374),(6.439,12.849),(6.649,13.185),(6.889,13.501),(7.156,13.794),(7.449,14.061),(7.765,14.301),(8.101,14.511),(8.576,14.742),(8.948,14.877),(9.332,14.978),(9.854,15.057),(10.25,15.075),(10.646,15.057),(11.168,14.978),(11.552,14.877),(11.924,14.742),(12.399,14.511),(12.735,14.301),(13.051,14.061),(13.344,13.794),(13.611,13.501),(13.851,13.185),(14.061,12.849),(14.292,12.374),(14.427,12.002),(14.528,11.618),(14.607,11.096),(14.625,10.7),(14.607,10.304),(14.528,9.782),(14.427,9.398),(14.292,9.026),(14.061,8.551),(13.851,8.215),(13.611,7.899),(13.344,7.606),(13.051,7.339),(12.735,7.099),(12.399,6.889),(11.924,6.658),(11.552,6.523),(11.168,6.422),(10.646,6.343)])
R(ring_modulator_db, L47_0, [(-2.079,-12.75,7.92,-2.75), (12.579,-12.75,22.579,-2.75), (5.92,-2.75,7.92,2.006), (12.579,-2.75,14.579,2.006)])
P(ring_modulator_db, L47_0, [(7.397,0.077),(6.772,0.264),(6.355,0.412),(5.949,0.575),(5.35,0.852),(4.957,1.057),(4.39,1.391),(3.842,1.759),(3.492,2.021),(2.982,2.443),(2.657,2.741),(2.344,3.051),(1.901,3.538),(1.487,4.05),(1.228,4.407),(0.867,4.958),(0.645,5.338),(0.341,5.924),(0.157,6.325),(-0.01,6.733),(-0.228,7.353),(-0.463,8.201),(-0.554,8.633),(-0.659,9.283),(-0.724,9.94),(-0.746,10.379),(-0.745,11.039),(-0.723,11.478),(-0.683,11.92),(-0.589,12.571),(-0.459,13.215),(-0.349,13.644),(-0.154,14.274),(-0.002,14.686),(0.165,15.094),(0.448,15.692),(0.763,16.268),(0.994,16.644),(1.24,17.011),(1.634,17.54),(1.914,17.878),(2.36,18.364),(2.673,18.675),(3.162,19.113),(3.681,19.523),(4.039,19.779),(4.785,20.246),(5.171,20.457),(5.765,20.744),(6.374,20.995),(6.793,21.142),(7.209,21.272),(7.848,21.435),(8.497,21.559),(8.933,21.621),(9.371,21.665),(10.03,21.698),(10.47,21.698),(11.129,21.665),(12.003,21.559),(12.652,21.435),(13.077,21.331),(13.502,21.208),(14.126,20.995),(14.534,20.832),(15.134,20.556),(15.524,20.353),(16.092,20.021),(16.461,19.779),(16.994,19.39),(17.338,19.113),(17.827,18.675),(18.292,18.206),(18.586,17.878),(18.866,17.54),(19.26,17.011),(19.737,16.268),(20.052,15.692),(20.245,15.294),(20.421,14.89),(20.654,14.274),(20.849,13.644),(20.959,13.215),(21.05,12.787),(21.155,12.138),(21.205,11.698),(21.245,11.039),(21.246,10.379),(21.224,9.94),(21.159,9.283),(21.093,8.85),(20.963,8.201),(20.854,7.777),(20.587,6.939),(20.343,6.325),(20.062,5.728),(19.746,5.148),(19.397,4.589),(19.013,4.05),(18.453,3.371),(18,2.893),(17.518,2.443),(17.008,2.021),(16.295,1.51),(15.731,1.163),(15.15,0.852),(14.551,0.575),(13.728,0.264),(13.103,0.077),(12.573,2.005),(13.098,2.162),(13.435,2.282),(13.934,2.488),(14.42,2.724),(14.892,2.989),(15.344,3.281),(15.782,3.601),(16.196,3.945),(16.59,4.313),(16.963,4.705),(17.309,5.118),(17.632,5.551),(17.927,6.004),(18.195,6.471),(18.359,6.794),(18.578,7.287),(18.767,7.791),(18.876,8.134),(19.015,8.657),(19.09,9.007),(19.197,9.719),(19.239,10.259),(19.25,10.616),(19.238,11.159),(19.213,11.518),(19.119,12.231),(19.011,12.761),(18.921,13.108),(18.819,13.454),(18.638,13.962),(18.427,14.46),(18.272,14.782),(18.011,15.258),(17.724,15.715),(17.409,16.155),(17.187,16.434),(16.83,16.84),(16.451,17.223),(16.046,17.585),(15.768,17.81),(15.331,18.129),(15.032,18.325),(14.564,18.599),(14.244,18.766),(13.754,18.99),(13.253,19.185),(12.735,19.35),(12.39,19.442),(11.863,19.554),(11.327,19.635),(10.79,19.684),(10.25,19.7),(9.71,19.684),(9.352,19.655),(8.995,19.612),(8.461,19.521),(7.935,19.397),(7.417,19.242),(6.912,19.058),(6.581,18.918),(6.256,18.766),(5.779,18.51),(5.169,18.129),(4.59,17.698),(4.049,17.223),(3.67,16.84),(3.313,16.434),(2.876,15.861),(2.489,15.258),(2.228,14.782),(1.929,14.13),(1.738,13.624),(1.531,12.933),(1.414,12.407),(1.305,11.694),(1.262,11.159),(1.25,10.616),(1.286,9.897),(1.379,9.184),(1.485,8.657),(1.676,7.963),(1.922,7.287),(2.222,6.632),(2.573,6.004),(2.973,5.404),(3.419,4.84),(3.91,4.313),(4.441,3.825),(4.862,3.491),(5.456,3.083),(6.08,2.724),(6.566,2.488),(7.233,2.22),(7.927,2.005)])
R(ring_modulator_db, L68_0, [(-12,-12.75,32.5,35.95)])
ring_modulator_db.add(gdstk.FlexPath([(-11.95,0),(-12.05,0)], 0.5, ends="flush", simple_path=True, layer=1, datatype=10))  # L1_10
ring_modulator_db.add(gdstk.FlexPath([(32.45,0),(32.55,0)], 0.5, ends="flush", simple_path=True, layer=1, datatype=10))  # L1_10
ring_modulator_db.add(gdstk.FlexPath([(-11.95,21.7),(-12.05,21.7)], 0.5, ends="flush", simple_path=True, layer=1, datatype=10))  # L1_10
ring_modulator_db.add(gdstk.FlexPath([(32.45,21.7),(32.55,21.7)], 0.5, ends="flush", simple_path=True, layer=1, datatype=10))  # L1_10
ring_modulator_db.add(gdstk.Reference(ring, (10.25,10.7)))
ring_modulator_db.add(gdstk.Reference(text, (0.5,10.5)))
ring_modulator_db.add(gdstk.Label('Lumerical_INTERCONNECT_library=Design kits/GSiP', (0,0), layer=68, texttype=0))
ring_modulator_db.add(gdstk.Label('Component=Ring_Modulator_DB', (0,1), layer=68, texttype=0))
ring_modulator_db.add(gdstk.Label('Component_ID=0', (0,2), layer=68, texttype=0))
ring_modulator_db.add(gdstk.Label('Spice_param:radius=10.000u wg_width=0.500u gap=0.200u gap_monitor=0.500u', (0,-1), layer=68, texttype=0))
ring_modulator_db.add(gdstk.Label('elec1a', (10.25,10.7), layer=1, texttype=10))
ring_modulator_db.add(gdstk.Label('elec1c', (10.25,30.95), layer=1, texttype=10))
ring_modulator_db.add(gdstk.Label('elec2h2', (17.579,-7.75), layer=1, texttype=10))
ring_modulator_db.add(gdstk.Label('elec2h1', (2.92,-7.75), layer=1, texttype=10))
ring_modulator_db.add(gdstk.Label('opt1', (-12,0), layer=1, texttype=10))
ring_modulator_db.add(gdstk.Label('opt2', (32.5,0), layer=1, texttype=10))
ring_modulator_db.add(gdstk.Label('opt3', (-12,21.7), layer=1, texttype=10))
ring_modulator_db.add(gdstk.Label('opt4', (32.5,21.7), layer=1, texttype=10))
ring_modulator_db.add(gdstk.Label('Ref: Raphael Dube-Demers, JLT, 2015', (-12,-8.75), layer=66, texttype=0))
ring_modulator_db.add(gdstk.Label('http://dx.doi.org/10.1109/JLT.2015.2462804', (-12,-11.75), layer=66, texttype=0))

lib.write_gds('Ring_Modulator_DB.gds')
